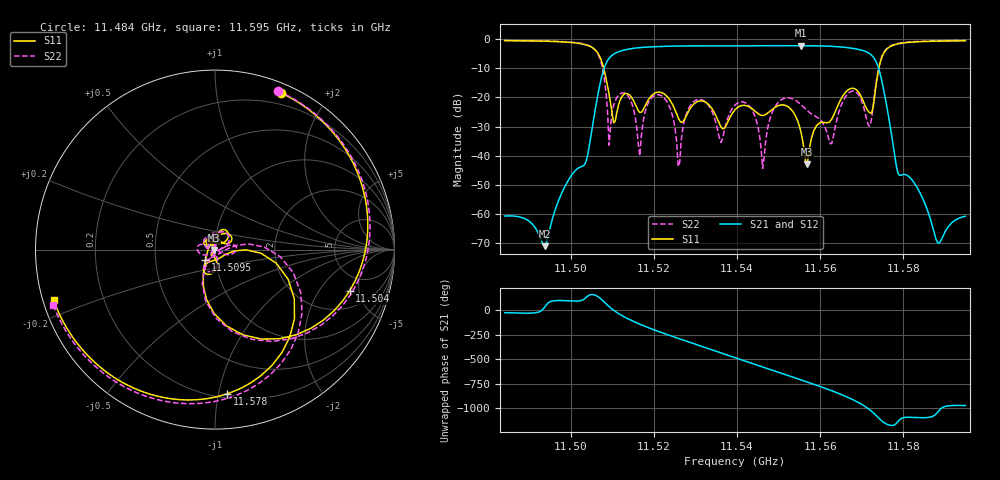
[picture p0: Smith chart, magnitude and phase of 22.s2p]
! Created with skrf 1.8.0 (http://scikit-rf.org).
# Hz S RI R 50.0
!freq ReS11 ImS11 ReS21 ImS21 ReS12 ImS12 ReS22 ImS22
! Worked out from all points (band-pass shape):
!   301 points, 11.484 GHz to 11.595 GHz, reference 50 ohm
!   highest |S21| = -2.18 dB at 11.5554 GHz (marker M1); lowest = -71.1 dB at 11.4936 GHz (marker M2)
!   |S21| within 3 dB of the highest: 11.5102 GHz to 11.5722 GHz (61.94 MHz wide, 0.537 % of centre)
!   lowest |S11| = -43.0 dB at 11.5569 GHz (marker M3), VSWR 1.01, Z = 49.3 - j0.182 ohm
!   |S11| at or under -10 dB: 11.5079 GHz to 11.5742 GHz (66.29 MHz wide, 0.574 % of centre)
!   |S22| runs from -44.4 to -0.4 dB; largest |S21 - S12| = 0.009
!   S11 on the Smith chart (normalised r, x): 11.484 GHz: 0.09, +1.51; 11.504 GHz: 3.32, -3.98; 11.5095 GHz: 0.89, -0.11; 11.578 GHz: 0.23, -1.06; 11.595 GHz: 0.03, -0.15
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1.1484e10  0.3692 0.8717  0.000836 -0.000382  0.000831 -0.00036  0.3533 0.8826
1.149362e10  0.6551 0.6548  0.000239 0.000145  0.000234 0.000148  0.6531 0.6648
1.15025e10  0.8344 -0.0203  -0.00114 0.0064  -0.00123 0.00645  0.8464 -0.0324
1.150398e10  0.7498 -0.2305  -0.00814 0.0059  -0.00828 0.00592  0.7536 -0.2536
1.150953e10  -0.0535 -0.0592  0.4584 0.206  0.4598 0.2045  0.0326 0.00507
1.151434e10  0.0923 0.0511  -0.1152 -0.6761  -0.1196 -0.6763  0.0852 -0.0269
1.151656e10  0.0382 0.0401  -0.5658 -0.4437  -0.5679 -0.4382  0.00605 0.00787
1.1521e10  0.057 0.1097  -0.6119 0.4302  -0.6084 0.4303  0.0634 0.0921
1.152581e10  0.0297 0.034  0.2204 0.7339  0.2255 0.7309  0.00594 0.00277
1.153062e10  -0.00926 0.0853  0.7665 0.0564  0.7613 0.0521  -0.0228 0.0896
1.15395e10  -0.0484 0.0376  -0.4256 -0.6408  -0.4277 -0.6335  -0.0628 0.0393
1.154616e10  -0.0373 0.0319  -0.5978 0.4932  -0.5943 0.4942  -0.00429 0.00426
1.154912e10  -0.0606 0.0302  -0.1109 0.7672  -0.1042 0.7652  -0.0622 -0.0299
1.155541e10  -0.00944 0.0234  0.7674 0.1258  0.7611 0.1225  -0.0694 0.0288
1.155689e10  -0.00682 -0.00185  0.7597 -0.1619  0.7544 -0.162  -0.0558 0.021
1.1558e10  -0.012 -0.0172  0.6826 -0.3665  0.6785 -0.3656  -0.0499 0.0133
1.156688e10  -0.0211 -0.1354  -0.7071 -0.0911  -0.7059 -0.0896  -0.015 -0.1187
1.157206e10  0.0191 -0.0504  0.269 0.4883  0.2686 0.4864  0.0228 -0.0235
1.15765e10  0.3167 -0.646  3.46e-05 -0.0469  -8.85e-05 -0.0478  0.3685 -0.6346
1.157798e10  0.0684 -0.8035  0.000229 -0.00989  0.000122 -0.01  0.1151 -0.8132
1.158834e10  -0.7658 -0.5244  0.00024 0.000208  0.000244 0.000202  -0.7613 -0.5517
1.1595e10  -0.8985 -0.2833  -0.000278 0.00087  -0.000251 0.00087  -0.9016 -0.3087
